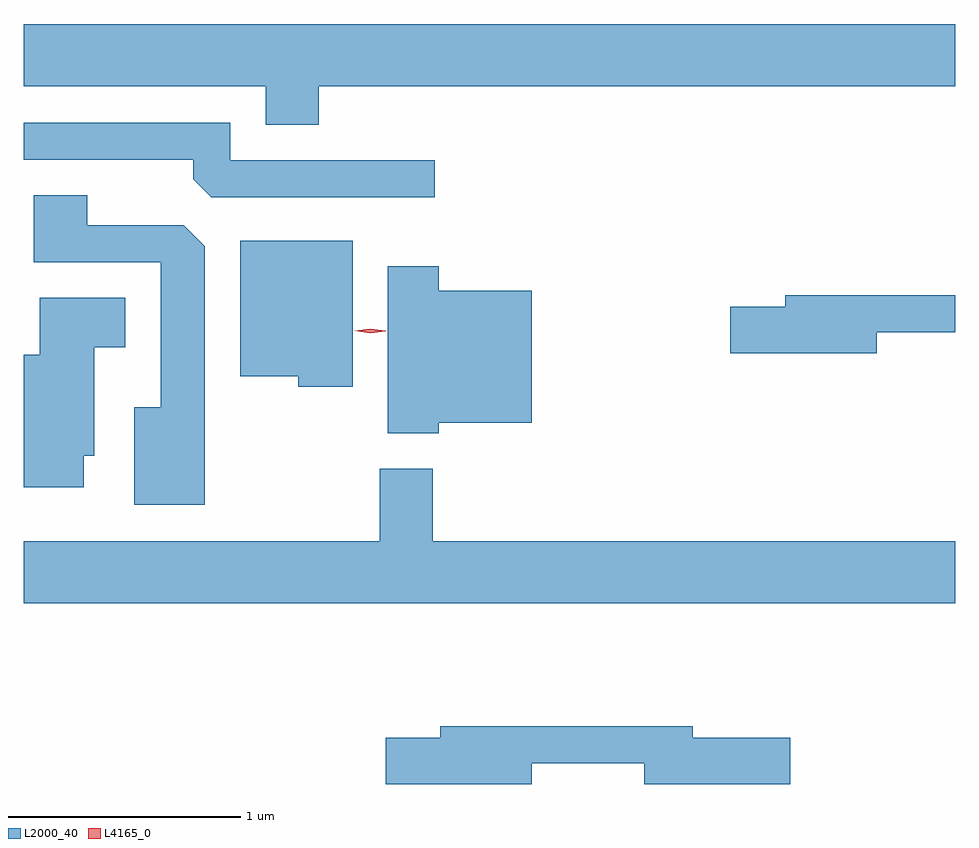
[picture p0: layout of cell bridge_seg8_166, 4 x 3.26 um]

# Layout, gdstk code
import gdstk
lib = gdstk.Library(unit=1e-6, precision=1e-09)
def P(c, l, *ps):  # polygons
    for p in ps: c.add(gdstk.Polygon(p, *l))
L2000_40 = (2000, 40)
L4165_0 = (4165, 0)

bridge_seg8_166 = lib.new_cell('bridge_seg8_166')
P(bridge_seg8_166, L2000_40, [(1410.449,1907.456),(1413.182,1907.456),(1413.182,1907.724),(1409.182,1907.724),(1409.182,1907.456),(1410.221,1907.456),(1410.221,1907.291),(1410.449,1907.291)],
  [(1410.948,1907.139),(1410.069,1907.139),(1410.069,1907.299),(1409.182,1907.299),(1409.182,1907.141),(1409.911,1907.141),(1409.911,1907.057),(1409.987,1906.981),(1410.948,1906.981)],
  [(1409.959,1906.769),(1409.869,1906.859),(1409.454,1906.859),(1409.454,1906.989),(1409.226,1906.989),(1409.226,1906.701),(1409.771,1906.701),(1409.771,1906.079),(1409.656,1906.079),(1409.656,1905.661),(1409.959,1905.661)],
  [(1410.594,1906.794),(1410.111,1906.794),(1410.111,1906.211),(1410.361,1906.211),(1410.361,1906.166),(1410.594,1906.166)],
  [(1410.964,1906.011),(1411.364,1906.011),(1411.364,1906.579),(1410.964,1906.579),(1410.964,1906.684),(1410.746,1906.684),(1410.746,1905.966),(1410.964,1905.966)],
  [(1412.844,1906.401),(1413.182,1906.401),(1413.182,1906.559),(1412.451,1906.559),(1412.451,1906.509),(1412.216,1906.509),(1412.216,1906.311),(1412.844,1906.311)],
  [(1409.439,1905.871),(1409.484,1905.871),(1409.484,1906.336),(1409.619,1906.336),(1409.619,1906.549),(1409.251,1906.549),(1409.251,1906.304),(1409.182,1906.304),(1409.182,1905.736),(1409.439,1905.736)],
  [(1413.182,1905.504),(1410.939,1905.504),(1410.939,1905.814),(1410.711,1905.814),(1410.711,1905.504),(1409.182,1905.504),(1409.182,1905.236),(1413.182,1905.236)],
  [(1411.364,1904.551),(1411.846,1904.551),(1411.846,1904.461),(1412.474,1904.461),(1412.474,1904.659),(1412.054,1904.659),(1412.054,1904.709),(1410.971,1904.709),(1410.971,1904.659),(1410.736,1904.659),(1410.736,1904.461),(1411.364,1904.461)])
P(bridge_seg8_166, L4165_0, [(1410.67,1906.396),(1410.604,1906.407),(1410.603,1906.408),(1410.604,1906.408),(1410.67,1906.416),(1410.736,1906.406),(1410.736,1906.405),(1410.736,1906.405)])

lib.write_gds('bridge_seg8_166.gds')
